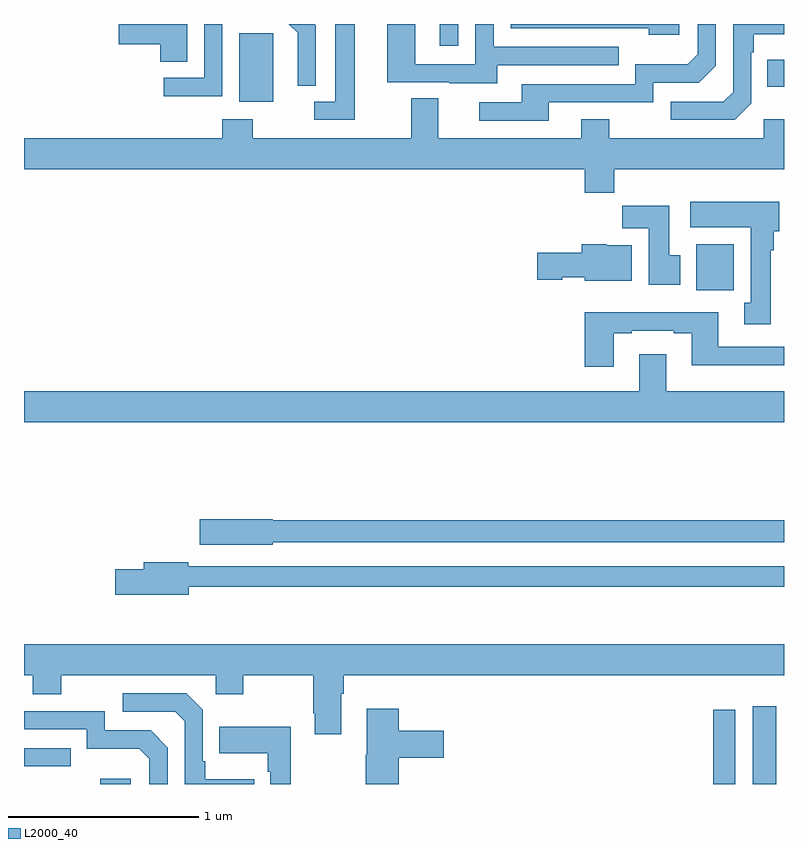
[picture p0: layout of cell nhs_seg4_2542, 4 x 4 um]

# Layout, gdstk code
import gdstk
lib = gdstk.Library(unit=1e-6, precision=1e-09)
def R(c, l, rs):  # rectangles x0, y0, x1, y1
    for r in rs: c.add(gdstk.rectangle(r[:2], r[2:], *l))
def P(c, l, *ps):  # polygons
    for p in ps: c.add(gdstk.Polygon(p, *l))
L2000_40 = (2000, 40)

nhs_seg4_2542 = lib.new_cell('nhs_seg4_2542')
R(nhs_seg4_2542, L2000_40, [(243.401,810.9,243.562,810.928), (246.628,810.9,246.744,811.291), (246.836,810.9,246.958,811.309), (243,810.993,243.245,811.089), (246.539,813.5,246.736,813.742), (244.133,814.49,244.312,814.851), (246.913,814.571,247,814.711), (245.189,814.785,245.286,814.9)])
P(nhs_seg4_2542, L2000_40, [(244.741,814.9),(244.637,814.9),(244.637,814.491),(244.527,814.491),(244.527,814.395),(244.741,814.395)],
  [(244.044,814.9),(243.948,814.9),(243.948,814.617),(243.735,814.617),(243.735,814.519),(244.044,814.519)],
  [(246.828,814.482),(246.828,814.751),(246.841,814.751),(246.841,814.847),(247,814.847),(247,814.9),(246.732,814.9),(246.732,814.542),(246.681,814.491),(246.405,814.491),(246.405,814.395),(246.741,814.395)],
  [(243.859,814.9),(243.498,814.9),(243.498,814.793),(243.716,814.793),(243.716,814.702),(243.859,814.702)],
  [(245.491,814.683),(246.131,814.683),(246.131,814.779),(245.472,814.779),(245.472,814.9),(245.376,814.9),(245.376,814.689),(245.058,814.689),(245.058,814.9),(244.913,814.9),(244.913,814.593),(245.237,814.593),(245.237,814.589),(245.491,814.589)],
  [(245.761,814.488),(246.312,814.488),(246.312,814.59),(246.552,814.59),(246.642,814.68),(246.642,814.9),(246.546,814.9),(246.546,814.74),(246.493,814.687),(246.216,814.687),(246.216,814.584),(245.621,814.584),(245.621,814.488),(245.397,814.488),(245.397,814.392),(245.761,814.392)],
  [(246.448,814.9),(245.562,814.9),(245.562,814.878),(246.287,814.878),(246.287,814.844),(246.448,814.844)],
  [(244.536,814.894),(244.53,814.9),(244.394,814.9),(244.442,814.853),(244.442,814.73),(244.44,814.73),(244.44,814.576),(244.536,814.576)],
  [(245.933,814.399),(245.933,814.3),(245.179,814.3),(245.179,814.508),(245.039,814.508),(245.039,814.3),(244.203,814.3),(244.203,814.399),(244.043,814.399),(244.043,814.3),(243,814.3),(243,814.136),(245.951,814.136),(245.951,814.012),(246.107,814.012),(246.107,814.136),(247,814.136),(247,814.399),(246.894,814.399),(246.894,814.3),(246.081,814.3),(246.081,814.399)],
  [(246.931,813.71),(246.946,813.71),(246.946,813.81),(246.976,813.81),(246.976,813.964),(246.507,813.964),(246.507,813.83),(246.824,813.83),(246.824,813.434),(246.791,813.434),(246.791,813.321),(246.931,813.321)],
  [(246.454,813.684),(246.397,813.684),(246.397,813.943),(246.148,813.943),(246.148,813.824),(246.287,813.824),(246.287,813.528),(246.454,813.528)],
  [(246.199,813.736),(246.066,813.736),(246.066,813.742),(245.936,813.742),(245.936,813.696),(245.7,813.696),(245.7,813.554),(245.832,813.554),(245.832,813.566),(245.952,813.566),(245.952,813.548),(246.199,813.548)],
  [(246.103,813.273),(246.199,813.273),(246.199,813.285),(246.419,813.285),(246.419,813.273),(246.515,813.273),(246.515,813.104),(247,813.104),(247,813.201),(246.655,813.201),(246.655,813.382),(245.951,813.382),(245.951,813.096),(246.103,813.096)],
  [(247,812.968),(246.379,812.968),(246.379,813.163),(246.239,813.163),(246.239,812.968),(243,812.968),(243,812.804),(247,812.804)],
  [(244.308,812.172),(247,812.172),(247,812.288),(244.308,812.288),(244.308,812.294),(243.924,812.294),(243.924,812.159),(244.308,812.159)],
  [(243.868,811.938),(247,811.938),(247,812.046),(243.864,812.046),(243.864,812.066),(243.629,812.066),(243.629,812.03),(243.48,812.03),(243.48,811.895),(243.868,811.895)],
  [(244.669,811.376),(244.682,811.376),(244.682,811.472),(247,811.472),(247,811.636),(243,811.636),(243,811.472),(243.047,811.472),(243.047,811.373),(243.195,811.373),(243.195,811.472),(244.008,811.472),(244.008,811.373),(244.155,811.373),(244.155,811.472),(244.522,811.472),(244.522,811.273),(244.529,811.273),(244.529,811.161),(244.669,811.161)],
  [(244.211,810.925),(243.955,810.925),(243.955,811.021),(243.942,811.021),(243.942,811.29),(243.855,811.377),(243.519,811.377),(243.519,811.281),(243.795,811.281),(243.846,811.23),(243.846,810.9),(244.211,810.9)],
  [(244.973,811.037),(245.209,811.037),(245.209,811.179),(244.973,811.179),(244.973,811.297),(244.805,811.297),(244.805,811.053),(244.798,811.053),(244.798,810.9),(244.973,810.9)],
  [(243.756,811.092),(243.666,811.182),(243.426,811.182),(243.426,811.284),(243,811.284),(243,811.188),(243.33,811.188),(243.33,811.085),(243.607,811.085),(243.66,811.032),(243.66,810.9),(243.756,810.9)],
  [(244.405,811.201),(244.027,811.201),(244.027,811.061),(244.284,811.061),(244.284,810.965),(244.296,810.965),(244.296,810.9),(244.405,810.9)])

lib.write_gds('nhs_seg4_2542.gds')
